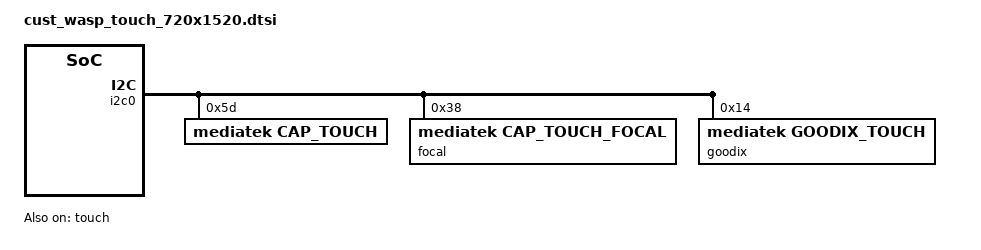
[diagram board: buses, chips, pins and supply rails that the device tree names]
// SPDX-License-Identifier: GPL-2.0+
/*
 * Copyright (c) 2019 MediaTek Inc.
 *
 */

/* TOUCH start */
&i2c0 {
	cap_touch:cap_touch@5d {
		compatible = "mediatek,cap_touch";
		reg = <0x5d>;
		status = "okay";
	};

	focal:focal@38 {
		compatible = "mediatek,cap_touch_focal";
		status = "okay";
		reg = <0x38>;
	};

	goodix:goodix@14 {
		compatible = "mediatek,goodix_touch";
		status = "okay";
		reg = <0x14>;
	};
};

&touch {
	tpd-resolution = <720 1520>;
	use-tpd-button = <0>;
	tpd-key-num = <3>;
	tpd-key-local= <139 172 158 0>;
	tpd-key-dim-local = <90 883 100 40 230
				 883 100 40 370 883 100 40 0 0 0 0>;
	tpd-max-touch-num = <10>;
	tpd-filter-enable = <1>;
	tpd-filter-pixel-density = <106>;
	tpd-filter-custom-prameters = <0 0 0 0 0 0 0 0 0 0 0 0>;
	tpd-filter-custom-speed = <0 0 0>;
	pinctrl-names = "default",
		"state_eint_as_int",
		"state_eint_output0",
		"state_eint_output1",
		"state_rst_output0",
		"state_rst_output1";

	pinctrl-0 = <&ctp_pins_default>;
	pinctrl-1 = <&ctp_pins_eint_as_int>;
	pinctrl-2 = <&ctp_pins_eint_output0>;
	pinctrl-3 = <&ctp_pins_eint_output1>;
	pinctrl-4 = <&ctp_pins_rst_output0>;
	pinctrl-5 = <&ctp_pins_rst_output1>;
	status = "okay";
};

&pio {
	ctp_pins_default: eint0default {
	};
	ctp_pins_eint_as_int: eint@0 {
		pins_cmd_dat {
			pinmux = <PINMUX_GPIO1__FUNC_GPIO1>;
			slew-rate = <0>;
			bias-disable;
		};
	};
	ctp_pins_eint_output0: eintoutput0 {
		pins_cmd_dat {
			pinmux = <PINMUX_GPIO1__FUNC_GPIO1>;
			slew-rate = <1>;
			output-low;
		};
	};
	ctp_pins_eint_output1: eintoutput1 {
		pins_cmd_dat {
			pinmux = <PINMUX_GPIO1__FUNC_GPIO1>;
			slew-rate = <1>;
			output-high;
		};
	};
	ctp_pins_rst_output0: rstoutput0 {
		pins_cmd_dat {
			pinmux = <PINMUX_GPIO164__FUNC_GPIO164>;
			slew-rate = <1>;
			output-low;
		};
	};
	ctp_pins_rst_output1: rstoutput1 {
		pins_cmd_dat {
			pinmux = <PINMUX_GPIO164__FUNC_GPIO164>;
			slew-rate = <1>;
			output-high;
		};
	};
};
/* TOUCH end */
